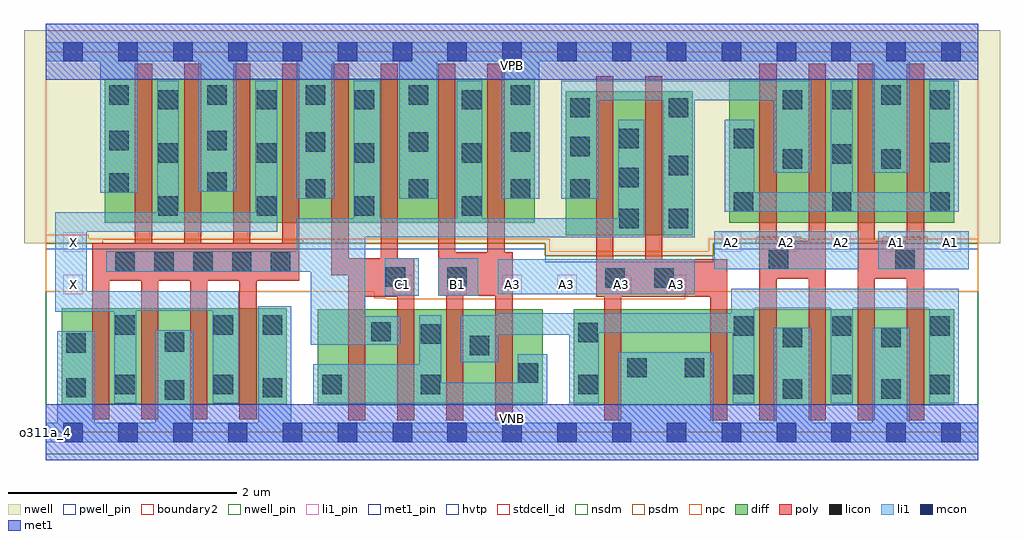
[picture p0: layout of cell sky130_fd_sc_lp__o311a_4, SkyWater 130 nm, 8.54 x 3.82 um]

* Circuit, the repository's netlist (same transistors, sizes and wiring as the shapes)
* Copyright 2020 The SkyWater PDK Authors
*
* Licensed under the Apache License, Version 2.0 (the "License");
* you may not use this file except in compliance with the License.
* You may obtain a copy of the License at
*
*     https://www.apache.org/licenses/LICENSE-2.0
*
* Unless required by applicable law or agreed to in writing, software
* distributed under the License is distributed on an "AS IS" BASIS,
* WITHOUT WARRANTIES OR CONDITIONS OF ANY KIND, either express or implied.
* See the License for the specific language governing permissions and
* limitations under the License.
*
* SPDX-License-Identifier: Apache-2.0

.SUBCKT sky130_fd_sc_lp__o311a_4 A1 A2 A3 B1 C1 VGND VNB VPB VPWR X
*.PININFO A1:I A2:I A3:I B1:I C1:I VGND:I VNB:I VPB:I VPWR:I X:O
MMPA0 VPWR A1 sndA1 VPB sky130_fd_pr__pfet_01v8_hvt m=2 w=1.26U l=0.15U mult=1
+ sa=0.265 sb=0.265 sd=0.28 area=0.063 perim=1.14
MMPA1 sndA1 A2 sndA2 VPB sky130_fd_pr__pfet_01v8_hvt m=2 w=1.26U l=0.15U mult=1
+ sa=0.265 sb=0.265 sd=0.28 area=0.063 perim=1.14
MMPA2 sndA2 A3 y VPB sky130_fd_pr__pfet_01v8_hvt m=2 w=1.26U l=0.15U mult=1 sa=0.265
+ sb=0.265 sd=0.28 area=0.063 perim=1.14
MMPB0 VPWR B1 y VPB sky130_fd_pr__pfet_01v8_hvt m=2 w=1.26U l=0.15U mult=1 sa=0.265
+ sb=0.265 sd=0.28 area=0.063 perim=1.14
MMPC0 VPWR C1 y VPB sky130_fd_pr__pfet_01v8_hvt m=2 w=1.26U l=0.15U mult=1 sa=0.265
+ sb=0.265 sd=0.28 area=0.063 perim=1.14
MMIPX X y VPWR VPB sky130_fd_pr__pfet_01v8_hvt m=4 w=1.26U l=0.15U mult=1 sa=0.265
+ sb=0.265 sd=0.28 area=0.063 perim=1.14
MMNA0 pndA A1 VGND VNB sky130_fd_pr__nfet_01v8 m=2 w=0.84U l=0.15U mult=1 sa=0.265
+ sb=0.265 sd=0.28 area=0.063 perim=1.14
MMNA1 pndA A2 VGND VNB sky130_fd_pr__nfet_01v8 m=2 w=0.84U l=0.15U mult=1 sa=0.265
+ sb=0.265 sd=0.28 area=0.063 perim=1.14
MMNA2 pndA A3 VGND VNB sky130_fd_pr__nfet_01v8 m=2 w=0.84U l=0.15U mult=1 sa=0.265
+ sb=0.265 sd=0.28 area=0.063 perim=1.14
MMNB0 pndB B1 pndA VNB sky130_fd_pr__nfet_01v8 m=2 w=0.84U l=0.15U mult=1 sa=0.265
+ sb=0.265 sd=0.28 area=0.063 perim=1.14
MMNC0 y C1 pndB VNB sky130_fd_pr__nfet_01v8 m=2 w=0.84U l=0.15U mult=1 sa=0.265
+ sb=0.265 sd=0.28 area=0.063 perim=1.14
MMINX X y VGND VNB sky130_fd_pr__nfet_01v8 m=4 w=0.84U l=0.15U mult=1 sa=0.265
+ sb=0.265 sd=0.28 area=0.063 perim=1.14
.ENDS sky130_fd_sc_lp__o311a_4

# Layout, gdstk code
import gdstk
lib = gdstk.Library(unit=1e-6, precision=1e-09)
def R(c, l, rs):  # rectangles x0, y0, x1, y1
    for r in rs: c.add(gdstk.rectangle(r[:2], r[2:], *l))
def A(c, l, x, y, w, h, nx, ny, dx, dy):  # array of equal rectangles
    R(c, l, [(x+i*dx, y+j*dy, x+i*dx+w, y+j*dy+h) for i in range(nx) for j in range(ny)])
def P(c, l, *ps):  # polygons
    for p in ps: c.add(gdstk.Polygon(p, *l))
nwell_pin = (64, 16)
nwell = (64, 20)
diff = (65, 20)
poly = (66, 20)
licon = (66, 44)
li1_pin = (67, 16)
li1 = (67, 20)
mcon = (67, 44)
met1_pin = (68, 16)
met1 = (68, 20)
hvtp = (78, 44)
stdcell_id = (81, 4)
nsdm = (93, 44)
psdm = (94, 20)
npc = (95, 20)
pwell_pin = (122, 16)
boundary2 = (236, 0)

sky130_fd_sc_lp__o311a_4 = lib.new_cell('sky130_fd_sc_lp__o311a_4')
R(sky130_fd_sc_lp__o311a_4, nwell_pin, [(0,3.085,8.16,3.33)])
P(sky130_fd_sc_lp__o311a_4, nwell, [(8.35,3.52),(-0.19,3.52),(-0.19,1.655),(4.37,1.655),(4.37,1.545),(5.84,1.545),(5.84,1.655),(8.35,1.655)])
R(sky130_fd_sc_lp__o311a_4, diff, [(2.38,0.235,4.35,1.075), (4.62,0.235,7.95,1.075), (0.14,0.245,2.11,1.085), (4.55,1.725,5.66,2.985), (0.515,1.835,4.28,3.095), (5.98,1.835,7.95,3.095)])
P(sky130_fd_sc_lp__o311a_4, poly, [(2.22,3.225),(2.07,3.225),(2.07,1.655),(1.79,1.655),(1.79,3.225),(1.64,3.225),(1.64,1.655),(1.36,1.655),(1.36,3.225),(1.21,3.225),(1.21,1.655),(0.93,1.655),(0.93,3.225),(0.78,3.225),(0.78,1.655),(0.405,1.655),(0.405,0.115),(0.555,0.115),(0.555,1.325),(0.835,1.325),(0.835,0.115),(0.985,0.115),(0.985,1.325),(1.265,1.325),(1.265,0.115),(1.415,0.115),(1.415,1.325),(1.695,1.325),(1.695,0.115),(1.845,0.115),(1.845,1.325),(2.22,1.325)],
  [(3.225,1.525),(3.08,1.525),(3.08,3.225),(2.93,3.225),(2.93,1.525),(2.65,1.525),(2.65,3.225),(2.5,3.225),(2.5,1.375),(2.645,1.375),(2.645,0.105),(2.795,0.105),(2.795,1.185),(3.075,1.185),(3.075,0.105),(3.225,0.105)],
  [(4.085,1.575),(4.015,1.575),(4.015,3.225),(3.865,3.225),(3.865,1.575),(3.585,1.575),(3.585,3.225),(3.435,3.225),(3.435,1.195),(3.505,1.195),(3.505,0.105),(3.655,0.105),(3.655,1.195),(3.935,1.195),(3.935,0.105),(4.085,0.105)],
  [(5.965,1.515),(5.395,1.515),(5.395,3.115),(5.245,3.115),(5.245,1.515),(4.965,1.515),(4.965,3.115),(4.815,3.115),(4.815,1.185),(4.885,1.185),(4.885,0.105),(5.035,0.105),(5.035,1.185),(5.815,1.185),(5.815,0.105),(5.965,0.105)],
  [(6.825,3.225),(6.675,3.225),(6.675,1.675),(6.395,1.675),(6.395,3.225),(6.245,3.225),(6.245,0.105),(6.395,0.105),(6.395,1.345),(6.675,1.345),(6.675,0.105),(6.825,0.105)],
  [(7.685,3.225),(7.535,3.225),(7.535,1.675),(7.255,1.675),(7.255,3.225),(7.105,3.225),(7.105,0.105),(7.255,0.105),(7.255,1.345),(7.535,1.345),(7.535,0.105),(7.685,0.105)])
A(sky130_fd_sc_lp__o311a_4, licon, 6.02, 0.335, 0.17, 0.17, 3, 2, 0.86, 0.51)
A(sky130_fd_sc_lp__o311a_4, licon, 0.61, 1.405, 0.17, 0.17, 5, 1, 0.34, 0)
A(sky130_fd_sc_lp__o311a_4, licon, 0.985, 1.895, 0.17, 0.17, 3, 3, 0.86, 0.465)
A(sky130_fd_sc_lp__o311a_4, licon, 3.64, 1.895, 0.17, 0.17, 1, 3, 0, 0.465)
A(sky130_fd_sc_lp__o311a_4, licon, 6.02, 1.93, 0.17, 0.17, 3, 1, 0.86, 0)
A(sky130_fd_sc_lp__o311a_4, licon, 3.175, 2.045, 0.17, 0.17, 1, 3, 0, 0.41)
A(sky130_fd_sc_lp__o311a_4, licon, 4.07, 2.045, 0.17, 0.17, 1, 3, 0, 0.41)
A(sky130_fd_sc_lp__o311a_4, licon, 0.555, 2.865, 0.17, 0.17, 3, 1, 0.86, 0)
R(sky130_fd_sc_lp__o311a_4, licon, [(1.04,0.285,1.21,0.455), (6.45,0.295,6.62,0.465), (7.31,0.295,7.48,0.465), (0.18,0.305,0.35,0.475), (1.9,0.305,2.07,0.475), (0.61,0.335,0.78,0.505), (1.47,0.335,1.64,0.505), (2.42,0.335,2.59,0.505), (3.28,0.335,3.45,0.505), (4.66,0.335,4.83,0.505), (4.14,0.435,4.31,0.605), (5.09,0.48,5.26,0.65), (5.59,0.48,5.76,0.65), (3.71,0.675,3.88,0.845), (0.18,0.695,0.35,0.865), (1.04,0.705,1.21,0.875), (6.45,0.745,6.62,0.915), (7.31,0.745,7.48,0.915), (3.28,0.775,3.45,0.945), (4.66,0.79,4.83,0.96), (2.85,0.795,3.02,0.965), (0.61,0.855,0.78,1.025), (1.47,0.855,1.64,1.025), (1.9,0.855,2.07,1.025), (4.895,1.265,5.065,1.435), (5.325,1.265,5.495,1.435), (2.975,1.275,3.145,1.445), (3.515,1.275,3.685,1.445), (6.325,1.425,6.495,1.595), (7.435,1.425,7.605,1.595), (5.02,1.785,5.19,1.955), (5.45,1.785,5.62,1.955), (2.275,2.045,2.445,2.215), (4.59,2.045,4.76,2.215), (0.555,2.095,0.725,2.265), (1.415,2.105,1.585,2.275), (5.02,2.145,5.19,2.315), (5.45,2.25,5.62,2.42), (6.45,2.305,6.62,2.475), (7.31,2.305,7.48,2.475), (6.88,2.35,7.05,2.52), (7.74,2.365,7.91,2.535), (4.59,2.415,4.76,2.585), (2.275,2.455,2.445,2.625), (0.555,2.47,0.725,2.64), (1.415,2.47,1.585,2.64), (5.02,2.485,5.19,2.655), (6.02,2.485,6.19,2.655), (4.59,2.755,4.76,2.925), (5.45,2.755,5.62,2.925), (6.45,2.825,6.62,2.995), (6.88,2.825,7.05,2.995), (7.74,2.825,7.91,2.995), (7.31,2.865,7.48,3.035)])
A(sky130_fd_sc_lp__o311a_4, li1_pin, 3.035, 1.21, 0.17, 0.17, 6, 1, 0.48, 0)
A(sky130_fd_sc_lp__o311a_4, li1_pin, 5.915, 1.58, 0.17, 0.17, 5, 1, 0.48, 0)
R(sky130_fd_sc_lp__o311a_4, li1_pin, [(0.155,1.21,0.325,1.38), (0.155,1.58,0.325,1.75)])
R(sky130_fd_sc_lp__o311a_4, li1, [(2.965,1.195,3.265,1.525), (3.435,1.195,3.785,1.525), (3.955,1.21,5.68,1.515), (5.85,1.425,7.115,1.76), (7.285,1.425,8.075,1.76)])
P(sky130_fd_sc_lp__o311a_4, li1, [(2.025,3.075),(1.835,3.075),(1.835,1.925),(1.165,1.925),(1.165,3.075),(0.975,3.075),(0.975,1.925),(0.085,1.925),(0.085,1.055),(0.6,1.055),(0.6,0.255),(0.79,0.255),(0.79,1.065),(1.46,1.065),(1.46,0.255),(1.69,0.255),(1.69,1.235),(0.36,1.235),(0.36,1.755),(2.025,1.755)],
  [(4.39,0.685),(4.13,0.685),(4.13,0.435),(3.46,0.435),(3.46,1.025),(3.27,1.025),(3.27,0.595),(2.34,0.595),(2.34,0.255),(4.39,0.255)],
  [(5.235,2.735),(5.01,2.735),(5.01,1.875),(3.82,1.875),(3.82,3.075),(3.595,3.075),(3.595,1.875),(2.925,1.875),(2.925,3.075),(2.695,3.075),(2.695,1.875),(2.195,1.875),(2.195,1.585),(0.53,1.585),(0.53,1.405),(2.32,1.405),(2.32,0.765),(3.1,0.765),(3.1,1.015),(2.795,1.015),(2.795,1.705),(5.235,1.705)],
  [(6.7,3.075),(4.51,3.075),(4.51,2.045),(4.84,2.045),(4.84,2.905),(5.405,2.905),(5.405,1.705),(5.68,1.705),(5.68,2.905),(6.37,2.905),(6.37,2.27),(6.7,2.27)],
  [(8.16,3.415),(0,3.415),(0,3.245),(0.475,3.245),(0.475,2.095),(0.805,2.095),(0.805,3.245),(1.335,3.245),(1.335,2.105),(1.665,2.105),(1.665,3.245),(2.195,3.245),(2.195,2.045),(2.525,2.045),(2.525,3.245),(3.095,3.245),(3.095,2.045),(3.425,2.045),(3.425,3.245),(3.99,3.245),(3.99,2.045),(4.32,2.045),(4.32,3.245),(7.23,3.245),(7.23,2.27),(7.56,2.27),(7.56,3.245),(8.16,3.245)],
  [(7.99,3.075),(7.73,3.075),(7.73,2.1),(7.06,2.1),(7.06,3.075),(6.87,3.075),(6.87,2.1),(6.2,2.1),(6.2,2.735),(5.94,2.735),(5.94,1.93),(7.99,1.93)],
  [(7.99,1.255),(6,1.255),(6,1.04),(3.955,1.04),(3.955,1.025),(3.63,1.025),(3.63,0.615),(3.96,0.615),(3.96,0.855),(4.58,0.855),(4.58,0.255),(4.84,0.255),(4.84,0.87),(6.01,0.87),(6.01,0.255),(6.2,0.255),(6.2,1.085),(6.87,1.085),(6.87,0.255),(7.06,0.255),(7.06,1.085),(7.73,1.085),(7.73,0.255),(7.99,0.255)],
  [(8.16,0.085),(7.56,0.085),(7.56,0.915),(7.23,0.915),(7.23,0.085),(6.7,0.085),(6.7,0.915),(6.37,0.915),(6.37,0.085),(5.84,0.085),(5.84,0.7),(5.01,0.7),(5.01,0.085),(2.15,0.085),(2.15,1.105),(1.86,1.105),(1.86,0.085),(1.29,0.085),(1.29,0.895),(0.96,0.895),(0.96,0.085),(0.43,0.085),(0.43,0.885),(0.1,0.885),(0.1,0.085),(0,0.085),(0,-0.085),(8.16,-0.085)])
A(sky130_fd_sc_lp__o311a_4, mcon, 0.155, -0.085, 0.17, 0.17, 17, 2, 0.48, 3.33)
R(sky130_fd_sc_lp__o311a_4, met1_pin, [(0,0,8.16,0.245), (0,3.085,8.16,3.33)])
R(sky130_fd_sc_lp__o311a_4, met1, [(0,-0.245,8.16,0.245), (0,3.085,8.16,3.575)])
P(sky130_fd_sc_lp__o311a_4, hvtp, [(8.16,3.33),(0,3.33),(0,1.6),(4.37,1.6),(4.37,1.49),(5.84,1.49),(5.84,1.6),(8.16,1.6)])
R(sky130_fd_sc_lp__o311a_4, stdcell_id, [(0,0,8.16,3.33)])
P(sky130_fd_sc_lp__o311a_4, nsdm, [(8.16,1.655),(5.84,1.655),(5.84,1.545),(4.37,1.545),(4.37,1.655),(0,1.655),(0,-0.19),(8.16,-0.19)])
P(sky130_fd_sc_lp__o311a_4, psdm, [(8.16,3.52),(0,3.52),(0,1.655),(0.5,1.655),(0.5,1.685),(2.25,1.685),(2.25,1.655),(4.37,1.655),(4.37,1.545),(5.84,1.545),(5.84,1.655),(6.215,1.655),(6.215,1.705),(6.605,1.705),(6.605,1.655),(7.325,1.655),(7.325,1.705),(7.715,1.705),(7.715,1.655),(8.16,1.655)])
P(sky130_fd_sc_lp__o311a_4, npc, [(8.16,1.695),(5.8,1.695),(5.8,1.585),(4.41,1.585),(4.41,1.695),(0.375,1.695),(0.375,1.73),(0,1.73),(0,1.23),(2.875,1.23),(2.875,1.175),(2.98,1.175),(2.98,1.165),(5.595,1.165),(5.595,1.23),(8.16,1.23)])
R(sky130_fd_sc_lp__o311a_4, pwell_pin, [(0,0,8.16,0.245)])
R(sky130_fd_sc_lp__o311a_4, boundary2, [(0,0,8.16,3.33)])
sky130_fd_sc_lp__o311a_4.add(gdstk.Label('VNB', (4.08,0.123), layer=64, texttype=59))
sky130_fd_sc_lp__o311a_4.add(gdstk.Label('VPB', (4.08,3.208), layer=64, texttype=5))
sky130_fd_sc_lp__o311a_4.add(gdstk.Label('o311a_4', (0,0), layer=83, texttype=44))
sky130_fd_sc_lp__o311a_4.add(gdstk.Label('VPWR', (4.08,3.208), layer=68, texttype=5))
sky130_fd_sc_lp__o311a_4.add(gdstk.Label('VGND', (4.08,0.123), layer=68, texttype=5))
sky130_fd_sc_lp__o311a_4.add(gdstk.Label('A1', (7.44,1.665), layer=67, texttype=5))
sky130_fd_sc_lp__o311a_4.add(gdstk.Label('A1', (7.92,1.665), layer=67, texttype=5))
sky130_fd_sc_lp__o311a_4.add(gdstk.Label('A2', (6,1.665), layer=67, texttype=5))
sky130_fd_sc_lp__o311a_4.add(gdstk.Label('A2', (6.48,1.665), layer=67, texttype=5))
sky130_fd_sc_lp__o311a_4.add(gdstk.Label('A2', (6.96,1.665), layer=67, texttype=5))
sky130_fd_sc_lp__o311a_4.add(gdstk.Label('A3', (4.08,1.295), layer=67, texttype=5))
sky130_fd_sc_lp__o311a_4.add(gdstk.Label('A3', (4.56,1.295), layer=67, texttype=5))
sky130_fd_sc_lp__o311a_4.add(gdstk.Label('A3', (5.04,1.295), layer=67, texttype=5))
sky130_fd_sc_lp__o311a_4.add(gdstk.Label('A3', (5.52,1.295), layer=67, texttype=5))
sky130_fd_sc_lp__o311a_4.add(gdstk.Label('B1', (3.6,1.295), layer=67, texttype=5))
sky130_fd_sc_lp__o311a_4.add(gdstk.Label('C1', (3.12,1.295), layer=67, texttype=5))
sky130_fd_sc_lp__o311a_4.add(gdstk.Label('X', (0.24,1.295), layer=67, texttype=5))
sky130_fd_sc_lp__o311a_4.add(gdstk.Label('X', (0.24,1.665), layer=67, texttype=5))

lib.write_gds('sky130_fd_sc_lp__o311a_4.gds')
